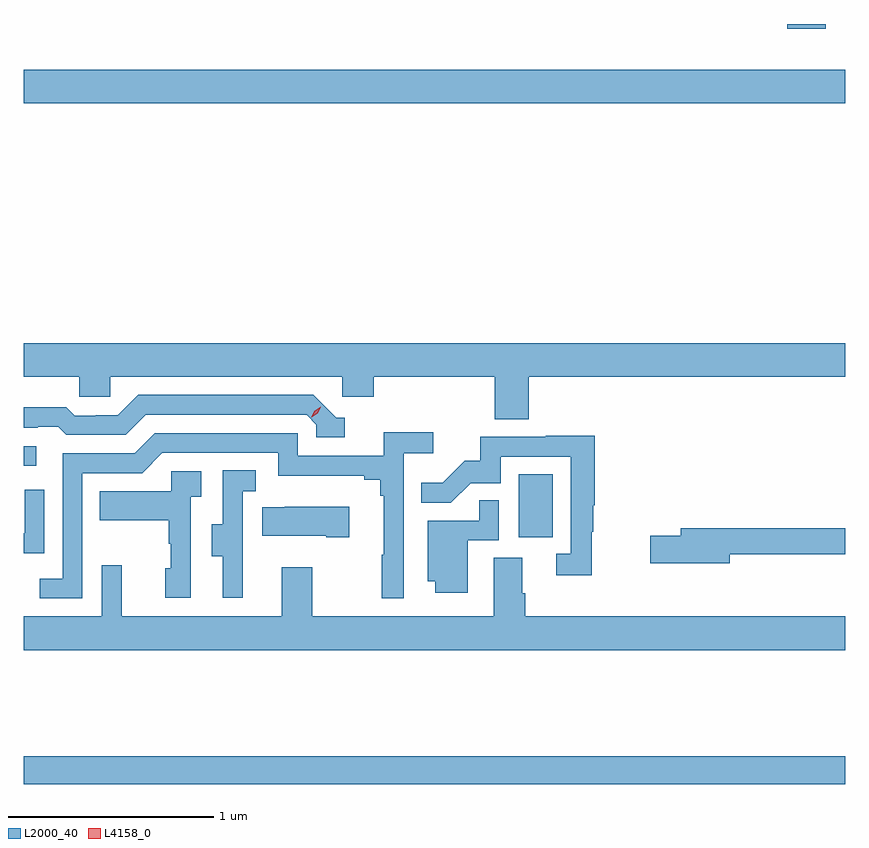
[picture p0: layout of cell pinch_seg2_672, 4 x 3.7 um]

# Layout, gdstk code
import gdstk
lib = gdstk.Library(unit=1e-6, precision=1e-09)
def R(c, l, rs):  # rectangles x0, y0, x1, y1
    for r in rs: c.add(gdstk.rectangle(r[:2], r[2:], *l))
def P(c, l, *ps):  # polygons
    for p in ps: c.add(gdstk.Polygon(p, *l))
L2000_40 = (2000, 40)
L4158_0 = (4158, 0)

pinch_seg2_672 = lib.new_cell('pinch_seg2_672')
R(pinch_seg2_672, L2000_40, [(1093.353,587.044,1097.353,587.18), (1095.764,588.246,1095.928,588.553), (1093.353,588.594,1093.414,588.69), (1093.353,590.36,1097.353,590.524), (1097.071,590.724,1097.26,590.746)])
P(pinch_seg2_672, L2000_40, [(1095.812,589.028),(1097.353,589.028),(1097.353,589.192),(1093.353,589.192),(1093.353,589.028),(1093.623,589.028),(1093.623,588.93),(1093.773,588.93),(1093.773,589.028),(1094.904,589.028),(1094.904,588.93),(1095.056,588.93),(1095.056,589.028),(1095.647,589.028),(1095.647,588.82),(1095.812,588.82)],
  [(1094.917,588.828),(1094.874,588.828),(1094.763,588.939),(1093.91,588.939),(1093.811,588.84),(1093.704,588.84),(1093.704,588.837),(1093.601,588.837),(1093.559,588.88),(1093.353,588.88),(1093.353,588.78),(1093.421,588.78),(1093.421,588.783),(1093.52,588.783),(1093.559,588.744),(1093.848,588.744),(1093.947,588.843),(1094.73,588.843),(1094.778,588.795),(1094.778,588.732),(1094.917,588.732)],
  [(1093.638,588.558),(1093.929,588.558),(1094.028,588.657),(1094.592,588.657),(1094.592,588.545),(1095.011,588.545),(1095.011,588.526),(1095.088,588.526),(1095.088,588.449),(1095.107,588.449),(1095.107,588.161),(1095.096,588.161),(1095.096,587.949),(1095.204,587.949),(1095.204,588.656),(1095.346,588.656),(1095.346,588.758),(1095.107,588.758),(1095.107,588.642),(1094.688,588.642),(1094.688,588.753),(1093.991,588.753),(1093.892,588.654),(1093.542,588.654),(1093.542,588.045),(1093.429,588.045),(1093.429,587.949),(1093.638,587.949)],
  [(1096.118,588.272),(1096.126,588.272),(1096.126,588.402),(1096.133,588.402),(1096.133,588.74),(1095.895,588.74),(1095.895,588.735),(1095.577,588.735),(1095.577,588.618),(1095.5,588.618),(1095.393,588.511),(1095.289,588.511),(1095.289,588.413),(1095.433,588.413),(1095.53,588.51),(1095.675,588.51),(1095.675,588.639),(1096.017,588.639),(1096.017,588.165),(1095.945,588.165),(1095.945,588.06),(1096.118,588.06)],
  [(1094.42,588.165),(1094.418,588.165),(1094.418,588.469),(1094.482,588.469),(1094.482,588.572),(1094.322,588.572),(1094.322,588.309),(1094.267,588.309),(1094.267,588.154),(1094.321,588.154),(1094.321,587.952),(1094.42,587.952)],
  [(1094.166,588.443),(1094.218,588.443),(1094.218,588.567),(1094.07,588.567),(1094.07,588.469),(1093.723,588.469),(1093.723,588.329),(1094.058,588.329),(1094.058,588.215),(1094.068,588.215),(1094.068,588.096),(1094.042,588.096),(1094.042,587.952),(1094.166,587.952)],
  [(1093.452,588.478),(1093.356,588.478),(1093.356,588.266),(1093.353,588.266),(1093.353,588.168),(1093.452,588.168)],
  [(1095.514,588.231),(1095.666,588.231),(1095.666,588.425),(1095.571,588.425),(1095.571,588.327),(1095.32,588.327),(1095.32,588.032),(1095.356,588.032),(1095.356,587.976),(1095.514,587.976)],
  [(1094.938,588.394),(1094.623,588.394),(1094.623,588.391),(1094.515,588.391),(1094.515,588.254),(1094.825,588.254),(1094.825,588.247),(1094.938,588.247)],
  [(1096.792,588.162),(1097.353,588.162),(1097.353,588.29),(1096.553,588.29),(1096.553,588.254),(1096.404,588.254),(1096.404,588.119),(1096.792,588.119)],
  [(1097.353,587.86),(1095.794,587.86),(1095.794,587.972),(1095.781,587.972),(1095.781,588.146),(1095.641,588.146),(1095.641,587.86),(1094.757,587.86),(1094.757,588.1),(1094.609,588.1),(1094.609,587.86),(1093.829,587.86),(1093.829,588.109),(1093.731,588.109),(1093.731,587.86),(1093.353,587.86),(1093.353,587.696),(1097.353,587.696)])
P(pinch_seg2_672, L4158_0, [(1094.753,588.83),(1094.753,588.83),(1094.769,588.862),(1094.799,588.882),(1094.8,588.882),(1094.8,588.882),(1094.784,588.849),(1094.754,588.83)])

lib.write_gds('pinch_seg2_672.gds')
